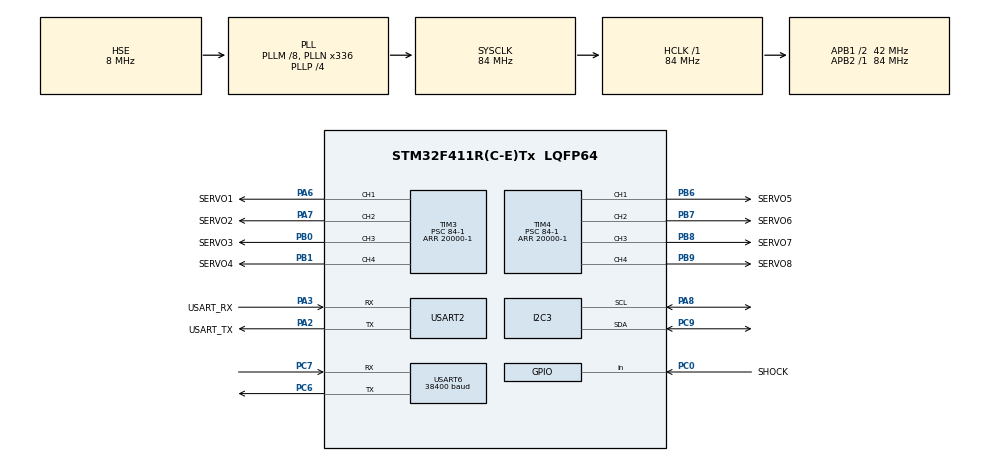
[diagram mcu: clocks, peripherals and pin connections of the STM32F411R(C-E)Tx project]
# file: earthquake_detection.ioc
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Mcu.Family=STM32F4
Mcu.Name=STM32F411R(C-E)Tx
Mcu.Package=LQFP64
NVIC.PriorityGroup=NVIC_PRIORITYGROUP_0
NVIC.TIM3_IRQn=true\:0\:0\:false\:false\:true\:true\:true\:true
NVIC.USART2_IRQn=true\:0\:0\:false\:false\:true\:true\:true\:true
NVIC.USART6_IRQn=true\:0\:0\:false\:false\:true\:true\:true\:true
PA13.GPIO_Label=TMS
PA13.Mode=Serial_Wire
PA13.Signal=SYS_JTMS-SWDIO
PA14.GPIO_Label=TCK
PA14.Mode=Serial_Wire
PA14.Signal=SYS_JTCK-SWCLK
PA2.GPIO_Label=USART_TX
PA2.Mode=Asynchronous
PA2.Signal=USART2_TX
PA3.GPIO_Label=USART_RX
PA3.Mode=Asynchronous
PA3.Signal=USART2_RX
PA6.GPIO_Label=SERVO1
PA6.GPIO_Speed=GPIO_SPEED_FREQ_HIGH
PA6.Signal=S_TIM3_CH1
PA7.GPIO_Label=SERVO2
PA7.GPIO_Speed=GPIO_SPEED_FREQ_HIGH
PA7.Signal=S_TIM3_CH2
PA8.Mode=I2C
PA8.Signal=I2C3_SCL
PB0.GPIO_Label=SERVO3
PB0.GPIO_Speed=GPIO_SPEED_FREQ_HIGH
PB0.Signal=S_TIM3_CH3
PB1.GPIO_Label=SERVO4
PB1.GPIO_Speed=GPIO_SPEED_FREQ_HIGH
PB1.Signal=S_TIM3_CH4
PB6.GPIO_Label=SERVO5
PB6.GPIO_Speed=GPIO_SPEED_FREQ_HIGH
PB6.Signal=S_TIM4_CH1
PB7.GPIO_Label=SERVO6
PB7.GPIO_Speed=GPIO_SPEED_FREQ_HIGH
PB7.Signal=S_TIM4_CH2
PB8.GPIO_Label=SERVO7
PB8.GPIO_Speed=GPIO_SPEED_FREQ_HIGH
PB8.Signal=S_TIM4_CH3
PB9.GPIO_Label=SERVO8
PB9.GPIO_Speed=GPIO_SPEED_FREQ_HIGH
PB9.Signal=S_TIM4_CH4
PC0.GPIO_Label=SHOCK
PC0.Signal=GPIO_Input
PC14-OSC32_IN.Signal=RCC_OSC32_IN
PC15-OSC32_OUT.Signal=RCC_OSC32_OUT
PC6.Mode=Asynchronous
PC6.Signal=USART6_TX
PC7.Mode=Asynchronous
PC7.Signal=USART6_RX
PC9.Mode=I2C
PC9.Signal=I2C3_SDA
PH0\ -\ OSC_IN.Mode=HSE-External-Oscillator
PH0\ -\ OSC_IN.Signal=RCC_OSC_IN
PH1\ -\ OSC_OUT.Mode=HSE-External-Oscillator
PH1\ -\ OSC_OUT.Signal=RCC_OSC_OUT
ProjectManager.HeapSize=0x200
ProjectManager.StackSize=0x400
ProjectManager.TargetToolchain=STM32CubeIDE
RCC.48MHZClocksFreq_Value=84000000
RCC.AHBFreq_Value=84000000
RCC.APB1CLKDivider=RCC_HCLK_DIV2
RCC.APB1Freq_Value=42000000
RCC.APB1TimFreq_Value=84000000
RCC.APB2Freq_Value=84000000
RCC.APB2TimFreq_Value=84000000
RCC.CortexFreq_Value=84000000
RCC.FLatency-AdvancedSettings=FLASH_LATENCY_2
RCC.HCLKFreq_Value=84000000
RCC.HSE_VALUE=8000000
RCC.HSI_VALUE=16000000
RCC.LSE_VALUE=32768
RCC.PLLM=8
RCC.PLLN=336
RCC.PLLP=RCC_PLLP_DIV4
RCC.PLLSourceVirtual=RCC_PLLSOURCE_HSE
RCC.SYSCLKFreq_VALUE=84000000
RCC.SYSCLKSource=RCC_SYSCLKSOURCE_PLLCLK
RCC.VCOOutputFreq_Value=336000000
SH.S_TIM3_CH1.0=TIM3_CH1,PWM Generation1 CH1
SH.S_TIM3_CH2.0=TIM3_CH2,PWM Generation2 CH2
SH.S_TIM3_CH3.0=TIM3_CH3,PWM Generation3 CH3
SH.S_TIM3_CH4.0=TIM3_CH4,PWM Generation4 CH4
SH.S_TIM4_CH1.0=TIM4_CH1,PWM Generation1 CH1
SH.S_TIM4_CH2.0=TIM4_CH2,PWM Generation2 CH2
SH.S_TIM4_CH3.0=TIM4_CH3,PWM Generation3 CH3
SH.S_TIM4_CH4.0=TIM4_CH4,PWM Generation4 CH4
TIM3.AutoReloadPreload=TIM_AUTORELOAD_PRELOAD_DISABLE
TIM3.Channel-PWM\ Generation1\ CH1=TIM_CHANNEL_1
TIM3.Channel-PWM\ Generation2\ CH2=TIM_CHANNEL_2
TIM3.Channel-PWM\ Generation3\ CH3=TIM_CHANNEL_3
TIM3.Channel-PWM\ Generation4\ CH4=TIM_CHANNEL_4
TIM3.Period=20000-1
TIM3.Prescaler=84-1
TIM3.Pulse-PWM\ Generation1\ CH1=500
TIM3.Pulse-PWM\ Generation2\ CH2=500
TIM3.Pulse-PWM\ Generation3\ CH3=500
TIM3.Pulse-PWM\ Generation4\ CH4=500
TIM4.Channel-PWM\ Generation1\ CH1=TIM_CHANNEL_1
TIM4.Channel-PWM\ Generation2\ CH2=TIM_CHANNEL_2
TIM4.Channel-PWM\ Generation3\ CH3=TIM_CHANNEL_3
TIM4.Channel-PWM\ Generation4\ CH4=TIM_CHANNEL_4
TIM4.Period=20000-1
TIM4.Prescaler=84-1
TIM4.Pulse-PWM\ Generation1\ CH1=500
TIM4.Pulse-PWM\ Generation2\ CH2=500
TIM4.Pulse-PWM\ Generation3\ CH3=500
TIM4.Pulse-PWM\ Generation4\ CH4=500
USART2.VirtualMode=VM_ASYNC
USART6.BaudRate=38400
USART6.VirtualMode=VM_ASYNC
VP_TIM3_VS_ClockSourceINT.Mode=Internal
VP_TIM4_VS_ClockSourceINT.Mode=Internal
board=NUCLEO-F411RE

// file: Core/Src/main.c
/* USER CODE BEGIN Header */
/**
  ******************************************************************************
  * @file           : main.c
  * @brief          : Main program body
  ******************************************************************************
  * @attention
  *
  * Copyright (c) 2026 STMicroelectronics.
  * All rights reserved.
  *
  * This software is licensed under terms that can be found in the LICENSE file
  * in the root directory of this software component.
  * If no LICENSE file comes with this software, it is provided AS-IS.
  *
  ******************************************************************************
  */
/* USER CODE END Header */
#include "main.h"

/* USER CODE BEGIN Includes */
#include <stdio.h>
#include <string.h>
#include "esp.h"
#include "vibration_detector.h"
/* USER CODE END Includes */

/* USER CODE BEGIN PD */
#define ARR_CNT 6

/* Servo */
#define SERVO_MIN_PULSE         500
#define SERVO_MAX_PULSE         2500
#define SERVO_LOCK_ANGLE        0
#define SERVO_RELEASE_ANGLE     180

/* USER CODE END PD */

I2C_HandleTypeDef hi2c3;

TIM_HandleTypeDef htim3;
TIM_HandleTypeDef htim4;

UART_HandleTypeDef huart2;
UART_HandleTypeDef huart6;

/* USER CODE BEGIN PV */
extern cb_data_t cb_data;
uint32_t sensorTick = 0;
static VibrationDetector vibrationDetector;
static VibrationResult pendingVibration;
static VibrationResult transmittedVibration;
static uint32_t sampleTick;
static uint8_t sensorSamplingEnabled;
static uint8_t sensorSampleAvailable;
static uint8_t reportedAbnormal;
static uint8_t vibrationEventPending;

int16_t accelX;
int16_t accelY;
int16_t accelZ;
/* USER CODE END PV */

void SystemClock_Config(void);
static void MX_GPIO_Init(void);
static void MX_USART2_UART_Init(void);
static void MX_USART6_UART_Init(void);
static void MX_TIM3_Init(void);
static void MX_TIM4_Init(void);
static void MX_I2C3_Init(void);
/* USER CODE BEGIN PFP */
char strBuff[MAX_ESP_COMMAND_LEN];
void esp_event(char *);
long map(long x, long in_min, long in_max, long out_min, long out_max);

void MPU6050_Init(void);
uint8_t MPU6050_Read(void);

void Send_Sensor_Data(void);
void Sensor_Sampling_Service(void);

void Servo_SetPulse(uint8_t servo, uint16_t pulse);
void Servo_SetAngle(uint8_t servo, uint8_t angle);
void Servo_All_Lock(void);
void Servo_All_Release(void);
/* USER CODE END PFP */

int main(void)
{

  /* USER CODE BEGIN 1 */
  int ret = 0;
  /* USER CODE END 1 */

  /* MCU Configuration--------------------------------------------------------*/

  /* Reset of all peripherals, Initializes the Flash interface and the Systick. */
  HAL_Init();

  /* Configure the system clock */
  SystemClock_Config();

  /* Initialize all configured peripherals */
  MX_GPIO_Init();
  MX_USART2_UART_Init();
  MX_USART6_UART_Init();
  MX_TIM3_Init();
  MX_TIM4_Init();
  MX_I2C3_Init();
  /* USER CODE BEGIN 2 */
  MPU6050_Init();

  printf("Start main() - wifi\r\n");
  ret = drv_esp_init();

  printf("drv_esp_init ret = %d\r\n", ret);
  if(ret != 0)
  {
   printf("Esp response error\r\n");
   Error_Handler();
  }

  AiotClient_Init();

  if(HAL_TIM_PWM_Start(&htim3, TIM_CHANNEL_1) != HAL_OK)
  {
      Error_Handler();
  }
  if(HAL_TIM_PWM_Start(&htim3, TIM_CHANNEL_2) != HAL_OK)
  {
      Error_Handler();
  }
  if(HAL_TIM_PWM_Start(&htim3, TIM_CHANNEL_3) != HAL_OK)
  {
      Error_Handler();
  }
  if(HAL_TIM_PWM_Start(&htim3, TIM_CHANNEL_4) != HAL_OK)
  {
      Error_Handler();
  }

  if(HAL_TIM_PWM_Start(&htim4, TIM_CHANNEL_1) != HAL_OK)
  {
      Error_Handler();
  }
  if(HAL_TIM_PWM_Start(&htim4, TIM_CHANNEL_2) != HAL_OK)
  {
      Error_Handler();
  }
  if(HAL_TIM_PWM_Start(&htim4, TIM_CHANNEL_3) != HAL_OK)
  {
      Error_Handler();
  }
  if(HAL_TIM_PWM_Start(&htim4, TIM_CHANNEL_4) != HAL_OK)
  {
      Error_Handler();
  }

  printf("Testing Servos at startup...\r\n");
  Servo_All_Release();
  HAL_Delay(700);
  Servo_All_Lock();
  HAL_Delay(700);
  printf("Servo startup test complete!\r\n");
  Vibration_Init(&vibrationDetector);
  sampleTick = sensorTick = HAL_GetTick();
  sensorSamplingEnabled = 1;
  /* USER CODE END 2 */

  /* Infinite loop */
  while (1)
  {

    /* USER CODE BEGIN 3 */
    Sensor_Sampling_Service();
    uint32_t now = HAL_GetTick();

    /* Send at most 5 times/sec on changes; retain a 1-second heartbeat.
       Latch short events so a later quiet sample cannot erase them. */
    if(sensorSampleAvailable &&
       (uint32_t)(now - sampleTick) <= VIBRATION_MAX_GAP_MS &&
       (uint32_t)(now - vibrationDetector.last_tick) <= VIBRATION_MAX_GAP_MS &&
       ((uint32_t)(now - sensorTick) >= 1000U ||
        ((uint32_t)(now - sensorTick) >= 200U &&
         (vibrationEventPending ||
          (vibrationDetector.result.valid &&
           vibrationDetector.result.abnormal != reportedAbnormal)))))
    {
        sensorTick = now;
        transmittedVibration = vibrationEventPending ? pendingVibration :
                                vibrationDetector.result;
        reportedAbnormal = transmittedVibration.abnormal;
        vibrationEventPending = 0;
        /* Sampling may continue inside the ESP wait; keep this report immutable. */
        Send_Sensor_Data();
    }

    // 2. Wi-Fi 서버 제어 명령(+IPD) 수신 처리
    if(strstr((char *)cb_data.buf,"+IPD") && cb_data.buf[cb_data.length-1] == '\n')
	{
		strcpy(strBuff,strchr((char *)cb_data.buf,'['));
		memset(cb_data.buf,0x0,sizeof(cb_data.buf));
		cb_data.length = 0;
		esp_event(strBuff);
	}
  }
  /* USER CODE END 3 */
}

void SystemClock_Config(void)
{
  RCC_OscInitTypeDef RCC_OscInitStruct = {0};
  RCC_ClkInitTypeDef RCC_ClkInitStruct = {0};

  /** Configure the main internal regulator output voltage
  */
  __HAL_RCC_PWR_CLK_ENABLE();
  __HAL_PWR_VOLTAGESCALING_CONFIG(PWR_REGULATOR_VOLTAGE_SCALE1);

  /** Initializes the RCC Oscillators according to the specified parameters
  * in the RCC_OscInitTypeDef structure.
  */
  RCC_OscInitStruct.OscillatorType = RCC_OSCILLATORTYPE_HSE;
  RCC_OscInitStruct.HSEState = RCC_HSE_ON;
  RCC_OscInitStruct.PLL.PLLState = RCC_PLL_ON;
  RCC_OscInitStruct.PLL.PLLSource = RCC_PLLSOURCE_HSE;
  RCC_OscInitStruct.PLL.PLLM = 8;
  RCC_OscInitStruct.PLL.PLLN = 336;
  RCC_OscInitStruct.PLL.PLLP = RCC_PLLP_DIV4;
  RCC_OscInitStruct.PLL.PLLQ = 4;
  if (HAL_RCC_OscConfig(&RCC_OscInitStruct) != HAL_OK)
  {
    Error_Handler();
  }

  /** Initializes the CPU, AHB and APB buses clocks
  */
  RCC_ClkInitStruct.ClockType = RCC_CLOCKTYPE_HCLK|RCC_CLOCKTYPE_SYSCLK
                              |RCC_CLOCKTYPE_PCLK1|RCC_CLOCKTYPE_PCLK2;
  RCC_ClkInitStruct.SYSCLKSource = RCC_SYSCLKSOURCE_PLLCLK;
  RCC_ClkInitStruct.AHBCLKDivider = RCC_SYSCLK_DIV1;
  RCC_ClkInitStruct.APB1CLKDivider = RCC_HCLK_DIV2;
  RCC_ClkInitStruct.APB2CLKDivider = RCC_HCLK_DIV1;

  if (HAL_RCC_ClockConfig(&RCC_ClkInitStruct, FLASH_LATENCY_2) != HAL_OK)
  {
    Error_Handler();
  }
}

static void MX_I2C3_Init(void)
{

  hi2c3.Instance = I2C3;
  hi2c3.Init.ClockSpeed = 100000;
  hi2c3.Init.DutyCycle = I2C_DUTYCYCLE_2;
  hi2c3.Init.OwnAddress1 = 0;
  hi2c3.Init.AddressingMode = I2C_ADDRESSINGMODE_7BIT;
  hi2c3.Init.DualAddressMode = I2C_DUALADDRESS_DISABLE;
  hi2c3.Init.OwnAddress2 = 0;
  hi2c3.Init.GeneralCallMode = I2C_GENERALCALL_DISABLE;
  hi2c3.Init.NoStretchMode = I2C_NOSTRETCH_DISABLE;
  if (HAL_I2C_Init(&hi2c3) != HAL_OK)
  {
    Error_Handler();
  }

}

static void MX_TIM3_Init(void)
{

  TIM_ClockConfigTypeDef sClockSourceConfig = {0};
  TIM_MasterConfigTypeDef sMasterConfig = {0};
  TIM_OC_InitTypeDef sConfigOC = {0};

  htim3.Instance = TIM3;
  htim3.Init.Prescaler = 84-1;
  htim3.Init.CounterMode = TIM_COUNTERMODE_UP;
  htim3.Init.Period = 20000-1;
  htim3.Init.ClockDivision = TIM_CLOCKDIVISION_DIV1;
  htim3.Init.AutoReloadPreload = TIM_AUTORELOAD_PRELOAD_DISABLE;
  if (HAL_TIM_Base_Init(&htim3) != HAL_OK)
  {
    Error_Handler();
  }
  sClockSourceConfig.ClockSource = TIM_CLOCKSOURCE_INTERNAL;
  if (HAL_TIM_ConfigClockSource(&htim3, &sClockSourceConfig) != HAL_OK)
  {
    Error_Handler();
  }
  if (HAL_TIM_PWM_Init(&htim3) != HAL_OK)
  {
    Error_Handler();
  }
  sMasterConfig.MasterOutputTrigger = TIM_TRGO_RESET;
  sMasterConfig.MasterSlaveMode = TIM_MASTERSLAVEMODE_DISABLE;
  if (HAL_TIMEx_MasterConfigSynchronization(&htim3, &sMasterConfig) != HAL_OK)
  {
    Error_Handler();
  }
  sConfigOC.OCMode = TIM_OCMODE_PWM1;
  sConfigOC.Pulse = 500;
  sConfigOC.OCPolarity = TIM_OCPOLARITY_HIGH;
  sConfigOC.OCFastMode = TIM_OCFAST_DISABLE;
  if (HAL_TIM_PWM_ConfigChannel(&htim3, &sConfigOC, TIM_CHANNEL_1) != HAL_OK)
  {
    Error_Handler();
  }
  if (HAL_TIM_PWM_ConfigChannel(&htim3, &sConfigOC, TIM_CHANNEL_2) != HAL_OK)
  {
    Error_Handler();
  }
  if (HAL_TIM_PWM_ConfigChannel(&htim3, &sConfigOC, TIM_CHANNEL_3) != HAL_OK)
  {
    Error_Handler();
  }
  if (HAL_TIM_PWM_ConfigChannel(&htim3, &sConfigOC, TIM_CHANNEL_4) != HAL_OK)
  {
    Error_Handler();
  }
  HAL_TIM_MspPostInit(&htim3);

}

static void MX_TIM4_Init(void)
{

  TIM_ClockConfigTypeDef sClockSourceConfig = {0};
  TIM_MasterConfigTypeDef sMasterConfig = {0};
  TIM_OC_InitTypeDef sConfigOC = {0};

  htim4.Instance = TIM4;
  htim4.Init.Prescaler = 84-1;
  htim4.Init.CounterMode = TIM_COUNTERMODE_UP;
  htim4.Init.Period = 20000-1;
  htim4.Init.ClockDivision = TIM_CLOCKDIVISION_DIV1;
  htim4.Init.AutoReloadPreload = TIM_AUTORELOAD_PRELOAD_DISABLE;
  if (HAL_TIM_Base_Init(&htim4) != HAL_OK)
  {
    Error_Handler();
  }
  sClockSourceConfig.ClockSource = TIM_CLOCKSOURCE_INTERNAL;
  if (HAL_TIM_ConfigClockSource(&htim4, &sClockSourceConfig) != HAL_OK)
  {
    Error_Handler();
  }
  if (HAL_TIM_PWM_Init(&htim4) != HAL_OK)
  {
    Error_Handler();
  }
  sMasterConfig.MasterOutputTrigger = TIM_TRGO_RESET;
  sMasterConfig.MasterSlaveMode = TIM_MASTERSLAVEMODE_DISABLE;
  if (HAL_TIMEx_MasterConfigSynchronization(&htim4, &sMasterConfig) != HAL_OK)
  {
    Error_Handler();
  }
  sConfigOC.OCMode = TIM_OCMODE_PWM1;
  sConfigOC.Pulse = 500;
  sConfigOC.OCPolarity = TIM_OCPOLARITY_HIGH;
  sConfigOC.OCFastMode = TIM_OCFAST_DISABLE;
  if (HAL_TIM_PWM_ConfigChannel(&htim4, &sConfigOC, TIM_CHANNEL_1) != HAL_OK)
  {
    Error_Handler();
  }
  if (HAL_TIM_PWM_ConfigChannel(&htim4, &sConfigOC, TIM_CHANNEL_2) != HAL_OK)
  {
    Error_Handler();
  }
  if (HAL_TIM_PWM_ConfigChannel(&htim4, &sConfigOC, TIM_CHANNEL_3) != HAL_OK)
  {
    Error_Handler();
  }
  if (HAL_TIM_PWM_ConfigChannel(&htim4, &sConfigOC, TIM_CHANNEL_4) != HAL_OK)
  {
    Error_Handler();
  }
  HAL_TIM_MspPostInit(&htim4);

}

static void MX_USART2_UART_Init(void)
{

  huart2.Instance = USART2;
  huart2.Init.BaudRate = 115200;
  huart2.Init.WordLength = UART_WORDLENGTH_8B;
  huart2.Init.StopBits = UART_STOPBITS_1;
  huart2.Init.Parity = UART_PARITY_NONE;
  huart2.Init.Mode = UART_MODE_TX_RX;
  huart2.Init.HwFlowCtl = UART_HWCONTROL_NONE;
  huart2.Init.OverSampling = UART_OVERSAMPLING_16;
  if (HAL_UART_Init(&huart2) != HAL_OK)
  {
    Error_Handler();
  }

}

static void MX_USART6_UART_Init(void)
{

  huart6.Instance = USART6;
  huart6.Init.BaudRate = 38400;
  huart6.Init.WordLength = UART_WORDLENGTH_8B;
  huart6.Init.StopBits = UART_STOPBITS_1;
  huart6.Init.Parity = UART_PARITY_NONE;
  huart6.Init.Mode = UART_MODE_TX_RX;
  huart6.Init.HwFlowCtl = UART_HWCONTROL_NONE;
  huart6.Init.OverSampling = UART_OVERSAMPLING_16;
  if (HAL_UART_Init(&huart6) != HAL_OK)
  {
    Error_Handler();
  }

}

static void MX_GPIO_Init(void)
{
  GPIO_InitTypeDef GPIO_InitStruct = {0};

  /* GPIO Ports Clock Enable */
  __HAL_RCC_GPIOC_CLK_ENABLE();
  __HAL_RCC_GPIOH_CLK_ENABLE();
  __HAL_RCC_GPIOA_CLK_ENABLE();
  __HAL_RCC_GPIOB_CLK_ENABLE();

  /*Configure GPIO pin : SHOCK_Pin */
  GPIO_InitStruct.Pin = SHOCK_Pin;
  GPIO_InitStruct.Mode = GPIO_MODE_INPUT;
  GPIO_InitStruct.Pull = GPIO_NOPULL;
  HAL_GPIO_Init(SHOCK_GPIO_Port, &GPIO_InitStruct);

}

/* USER CODE BEGIN 4 */
void Sensor_Sampling_Service(void)
{
    uint32_t now = HAL_GetTick();
    if (!sensorSamplingEnabled ||
        (uint32_t)(now - sampleTick) < VIBRATION_SAMPLE_MS)
        return;
    sampleTick = now;
    if (!MPU6050_Read())
        return;
    sensorSampleAvailable = 1;
    Vibration_Update(&vibrationDetector, now, accelX, accelY, accelZ);
    if (vibrationDetector.result.valid && vibrationDetector.result.abnormal &&
        !reportedAbnormal) {
        if (!vibrationEventPending ||
            vibrationDetector.result.p2p > pendingVibration.p2p ||
            vibrationDetector.result.rms > pendingVibration.rms)
            pendingVibration = vibrationDetector.result;
        vibrationEventPending = 1;
    }
}

/* Cooperative hook: no Wi-Fi calls here, so ESP waits cannot recurse. */
void esp_background_service(void)
{
    Sensor_Sampling_Service();
}

#define MPU6050_ADDR        (0x68 << 1)
#define MPU6050_PWR_MGMT_1 0x6B
#define MPU6050_ACCEL_XOUT  0x3B

void MPU6050_Init(void)
{
    uint8_t data = 0x00;

    if(HAL_I2C_Mem_Write(&hi2c3,
                         MPU6050_ADDR,
                         MPU6050_PWR_MGMT_1,
                         I2C_MEMADD_SIZE_8BIT,
                         &data,
                         1,
                         100) != HAL_OK)
    {
        printf("MPU6050 Init Error\r\n");
    }
    else
    {
        printf("MPU6050 Init OK\r\n");
    }
}

uint8_t MPU6050_Read(void)
{
    uint8_t buf[6];

    if(HAL_I2C_Mem_Read(&hi2c3,
                        MPU6050_ADDR,
                        MPU6050_ACCEL_XOUT,
                        I2C_MEMADD_SIZE_8BIT,
                        buf,
                        6,
                        10) != HAL_OK)
    {
        printf("MPU6050 Read Error\r\n");
        return 0;
    }

    accelX = (int16_t)((buf[0] << 8) | buf[1]);
    accelY = (int16_t)((buf[2] << 8) | buf[3]);
    accelZ = (int16_t)((buf[4] << 8) | buf[5]);

    return 1;
}

void esp_event(char * recvBuf)
{
  int i=0;
  char * pToken;
  char * pArray[ARR_CNT]={0};
  char sendBuf[MAX_UART_COMMAND_LEN]={0};

  if(strlen(recvBuf) > 0)
  {
      if(recvBuf[strlen(recvBuf) - 1] == '\n')
          recvBuf[strlen(recvBuf) - 1] = '\0';

      if(strlen(recvBuf) > 0 &&
         recvBuf[strlen(recvBuf) - 1] == '\r')
          recvBuf[strlen(recvBuf) - 1] = '\0';
  }
  printf("\r\nDebug recv : %s\r\n",recvBuf);

  pToken = strtok(recvBuf,"[@]");
  while(pToken != NULL)
  {
    pArray[i] = pToken;
    if(++i >= ARR_CNT)
      break;
    pToken = strtok(NULL,"[@]");
  }

  if(i < 3)
	  return;

  if(!strcmp(pArray[1], "SERVOS"))
  {
      if(!strcmp(pArray[2], "RELEASE"))
      {
          printf("SERVO RELEASE COMMAND RECEIVED\r\n");
          Servo_All_Release();
          sprintf(sendBuf,
                  "[%s]SERVOS@RELEASE\n",
                  pArray[0]);
      }
      else if(!strcmp(pArray[2], "LOCK"))
      {
          Servo_All_Lock();
          sprintf(sendBuf,
                  "[%s]SERVOS@LOCK\n",
                  pArray[0]);
      }
      else
      {
          return;
      }
  }
  else if(!strncmp(pArray[1]," New conn",8))
  {
     return;
  }
  else if(!strncmp(pArray[1]," Already log",8))
  {
	  esp_client_conn();
      return;
  }
  else
      return;

  esp_send_data(sendBuf);
  printf("Debug send : %s\r\n",sendBuf);
}

void Send_Sensor_Data(void)
{
    char sendBuf[128]; /* Extended window summary can exceed the legacy 64 bytes. */
    uint8_t shock;

    shock = (uint8_t)HAL_GPIO_ReadPin(SHOCK_GPIO_Port, SHOCK_Pin);

    snprintf(sendBuf, sizeof(sendBuf),
            "[PJS_SQL]SENSOR@%d@%d@%d@%d@%lu@%lu@%u@%u\n",
            accelX,
            accelY,
            accelZ,
            shock,
            (unsigned long)transmittedVibration.p2p,
            (unsigned long)transmittedVibration.rms,
            (unsigned)transmittedVibration.abnormal,
            (unsigned)transmittedVibration.valid);

    esp_send_data(sendBuf);

    printf("Sensor Send : %s\r\n", sendBuf);
}

void Servo_SetPulse(uint8_t servo, uint16_t pulse)
{
    if(pulse < SERVO_MIN_PULSE)
        pulse = SERVO_MIN_PULSE;

    if(pulse > SERVO_MAX_PULSE)
        pulse = SERVO_MAX_PULSE;

    switch(servo)
    {
        case 1:
            __HAL_TIM_SET_COMPARE(&htim3,
                                  TIM_CHANNEL_1,
                                  pulse);
            break;

        case 2:
            __HAL_TIM_SET_COMPARE(&htim3,
                                  TIM_CHANNEL_2,
                                  pulse);
            break;

        case 3:
            __HAL_TIM_SET_COMPARE(&htim3,
                                  TIM_CHANNEL_3,
                                  pulse);
            break;

        case 4:
            __HAL_TIM_SET_COMPARE(&htim3,
                                  TIM_CHANNEL_4,
                                  pulse);
            break;

        case 5:
            __HAL_TIM_SET_COMPARE(&htim4,
                                  TIM_CHANNEL_1,
                                  pulse);
            break;

        case 6:
            __HAL_TIM_SET_COMPARE(&htim4,
                                  TIM_CHANNEL_2,
                                  pulse);
            break;

        case 7:
            __HAL_TIM_SET_COMPARE(&htim4,
                                  TIM_CHANNEL_3,
                                  pulse);
            break;

        case 8:
            __HAL_TIM_SET_COMPARE(&htim4,
                                  TIM_CHANNEL_4,
                                  pulse);
            break;

        default:
            break;
    }
}

void Servo_SetAngle(uint8_t servo, uint8_t angle)
{
    uint16_t pulse;

    if(angle > 180)
        angle = 180;

    pulse = (uint16_t)
            map(angle,
                0,
                180,
                SERVO_MIN_PULSE,
                SERVO_MAX_PULSE);

    Servo_SetPulse(servo, pulse);
}

void Servo_All_Lock(void)
{
    uint8_t i;

    for(i = 1; i <= 8; i++)
    {
        Servo_SetAngle(i,
                       SERVO_LOCK_ANGLE);
    }
}

void Servo_All_Release(void)
{
    uint8_t i;

    for(i = 1; i <= 8; i++)
    {
        Servo_SetAngle(i,
                       SERVO_RELEASE_ANGLE);
    }
}

long map(long x, long in_min, long in_max, long out_min, long out_max) {
  return (x - in_min) * (out_max - out_min) / (in_max - in_min) + out_min;
}
/* USER CODE END 4 */

void Error_Handler(void)
{
  __disable_irq();
  while (1)
  {
  }
}
